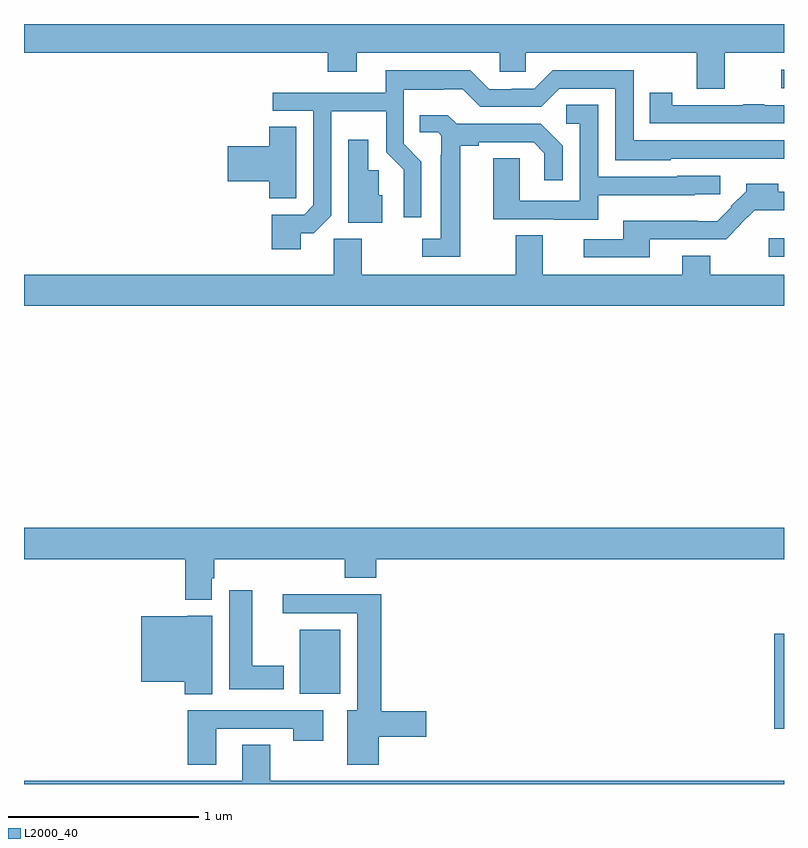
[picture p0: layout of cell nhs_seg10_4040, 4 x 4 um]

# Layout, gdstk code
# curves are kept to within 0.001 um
import gdstk
lib = gdstk.Library(unit=1e-6, precision=1e-09)
def R(c, l, rs):  # rectangles x0, y0, x1, y1
    for r in rs: c.add(gdstk.rectangle(r[:2], r[2:], *l))
def P(c, l, *ps):  # polygons
    for p in ps: c.add(gdstk.Polygon(p, *l))
L2000_40 = (2000, 40)

nhs_seg10_4040 = lib.new_cell('nhs_seg10_4040')
R(nhs_seg10_4040, L2000_40, [(338.948,1264.791,339,1265.29), (336.452,1264.976,336.664,1265.311), (338.919,1267.275,339,1267.372), (338.985,1268.163,339,1268.259)])
P(nhs_seg10_4040, L2000_40, [(338.689,1268.348),(339,1268.348),(339,1268.5),(335,1268.5),(335,1268.348),(336.599,1268.348),(336.599,1268.249),(336.751,1268.249),(336.751,1268.348),(337.503,1268.348),(337.503,1268.25),(337.641,1268.25),(337.641,1268.348),(338.542,1268.348),(338.542,1268.158),(338.689,1268.158)],
  [(336.457,1267.399),(336.525,1267.399),(336.618,1267.491),(336.618,1268.042),(336.906,1268.042),(336.906,1267.826),(336.998,1267.734),(336.998,1267.482),(337.092,1267.482),(337.092,1267.776),(336.999,1267.869),(336.999,1268.153),(337.208,1268.153),(337.208,1268.157),(337.308,1268.157),(337.401,1268.064),(337.722,1268.064),(337.818,1268.16),(338.112,1268.16),(338.112,1267.784),(338.403,1267.784),(338.403,1267.791),(339,1267.79),(339,1267.887),(338.208,1267.887),(338.208,1268.256),(337.782,1268.256),(337.686,1268.16),(337.566,1268.16),(337.566,1268.157),(337.449,1268.157),(337.349,1268.257),(336.905,1268.257),(336.905,1268.139),(336.309,1268.139),(336.309,1268.043),(336.522,1268.043),(336.522,1267.545),(336.474,1267.497),(336.305,1267.497),(336.305,1267.314),(336.457,1267.314)],
  [(339,1268.073),(338.897,1268.073),(338.897,1268.078),(338.785,1268.078),(338.785,1268.073),(338.412,1268.073),(338.412,1268.137),(338.293,1268.137),(338.293,1267.977),(339,1267.977)],
  [(338.023,1267.598),(338.529,1267.598),(338.529,1267.605),(338.664,1267.605),(338.664,1267.701),(338.439,1267.701),(338.439,1267.695),(338.022,1267.695),(338.022,1268.075),(337.854,1268.075),(337.854,1267.974),(337.926,1267.974),(337.926,1267.569),(337.608,1267.569),(337.608,1267.793),(337.469,1267.793),(337.469,1267.473),(337.787,1267.473),(337.787,1267.469),(338.023,1267.469)],
  [(337.297,1267.858),(337.393,1267.858),(337.393,1267.878),(337.682,1267.878),(337.739,1267.821),(337.739,1267.677),(337.836,1267.677),(337.836,1267.858),(337.72,1267.974),(337.278,1267.974),(337.23,1268.021),(337.084,1268.021),(337.084,1267.929),(337.179,1267.929),(337.197,1267.911),(337.197,1267.811),(337.193,1267.811),(337.193,1267.371),(337.095,1267.371),(337.095,1267.275),(337.297,1267.275)],
  [(336.432,1267.69),(336.433,1267.69),(336.433,1267.958),(336.29,1267.958),(336.29,1267.856),(336.072,1267.856),(336.072,1267.673),(336.29,1267.673),(336.29,1267.582),(336.432,1267.582)],
  [(336.886,1267.599),(336.867,1267.599),(336.867,1267.731),(336.811,1267.731),(336.811,1267.891),(336.707,1267.891),(336.707,1267.454),(336.886,1267.454)],
  [(338.293,1267.368),(338.697,1267.368),(338.773,1267.445),(338.771,1267.447),(338.845,1267.521),(339,1267.52),(339,1267.617),(338.971,1267.617),(338.971,1267.66),(338.8,1267.66),(338.8,1267.621),(338.721,1267.542),(338.724,1267.539),(338.648,1267.463),(338.546,1267.463),(338.546,1267.465),(338.153,1267.465),(338.153,1267.368),(337.947,1267.368),(337.947,1267.272),(338.293,1267.272)],
  [(339,1267.18),(338.613,1267.18),(338.613,1267.279),(338.465,1267.279),(338.465,1267.18),(337.729,1267.18),(337.729,1267.388),(337.589,1267.388),(337.589,1267.18),(336.777,1267.18),(336.777,1267.369),(336.63,1267.369),(336.63,1267.18),(335,1267.18),(335,1267.016),(339,1267.016)],
  [(335.989,1265.583),(336.002,1265.583),(336.002,1265.684),(336.689,1265.684),(336.689,1265.585),(336.854,1265.585),(336.854,1265.684),(339,1265.684),(339,1265.848),(335,1265.848),(335,1265.684),(335.849,1265.684),(335.849,1265.471),(335.989,1265.471)],
  [(336.367,1265.122),(336.202,1265.122),(336.202,1265.521),(336.08,1265.521),(336.08,1265),(336.367,1265)],
  [(336.868,1264.748),(337.117,1264.748),(337.117,1264.883),(336.881,1264.883),(336.881,1265.498),(336.363,1265.498),(336.363,1265.4),(336.755,1265.4),(336.755,1264.888),(336.701,1264.888),(336.701,1264.602),(336.868,1264.602)],
  [(335.992,1265.386),(335.862,1265.386),(335.862,1265.383),(335.618,1265.383),(335.618,1265.039),(335.846,1265.039),(335.846,1264.972),(335.992,1264.972)],
  [(336.013,1264.791),(336.418,1264.791),(336.418,1264.728),(336.574,1264.728),(336.574,1264.887),(335.861,1264.887),(335.861,1264.602),(336.013,1264.602)],
  [(339,1264.516),(336.297,1264.516),(336.297,1264.706),(336.149,1264.706),(336.149,1264.516),(335,1264.516),(335,1264.5),(339,1264.5)])

lib.write_gds('nhs_seg10_4040.gds')
